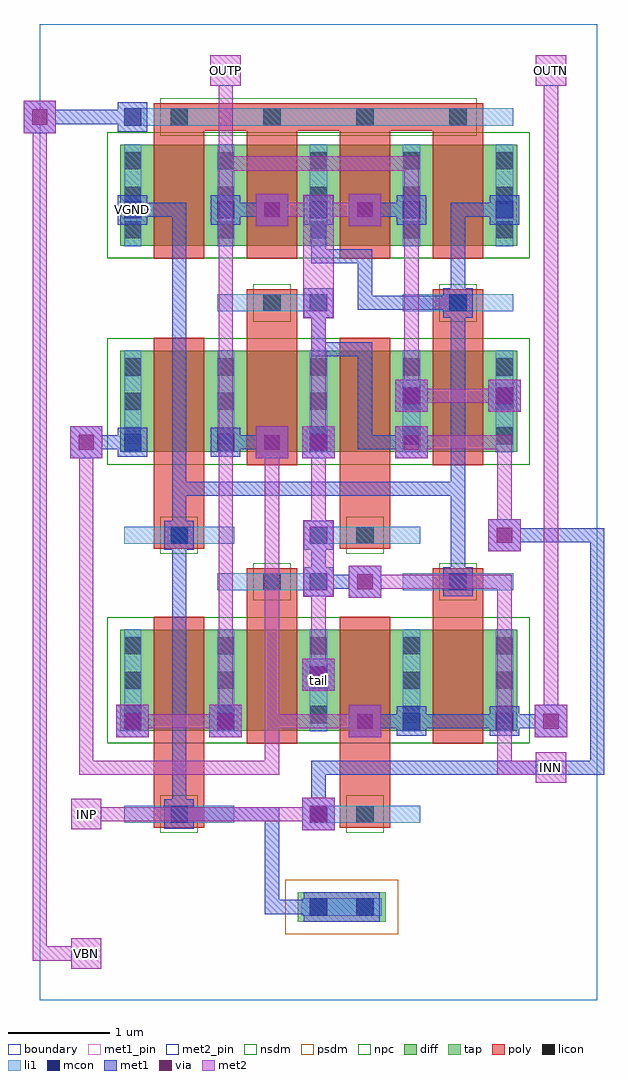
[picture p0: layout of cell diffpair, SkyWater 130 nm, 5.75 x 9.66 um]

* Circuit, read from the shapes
.subckt diffpair INN INP OUTN OUTP VBN VGND tail
XM1 OUTP VGND OUTP VGND sky130_fd_pr__nfet_01v8 w=1 l=0.5 m=2
XM2 OUTN VGND OUTN VGND sky130_fd_pr__nfet_01v8 w=1 l=0.5 m=2
XM3 tail VBN VGND VGND sky130_fd_pr__nfet_01v8 w=1 l=0.5 m=4
XM4 tail INN OUTP VGND sky130_fd_pr__nfet_01v8 w=1 l=0.5 m=2
XM5 tail INP OUTN VGND sky130_fd_pr__nfet_01v8 w=1 l=0.5 m=2
.ends

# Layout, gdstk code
import gdstk
lib = gdstk.Library(unit=1e-6, precision=1e-09)
def R(c, l, rs):  # rectangles x0, y0, x1, y1
    for r in rs: c.add(gdstk.rectangle(r[:2], r[2:], *l))
def A(c, l, x, y, w, h, nx, ny, dx, dy):  # array of equal rectangles
    R(c, l, [(x+i*dx, y+j*dy, x+i*dx+w, y+j*dy+h) for i in range(nx) for j in range(ny)])
diff = (65, 20)
tap = (65, 44)
poly = (66, 20)
licon = (66, 44)
li1 = (67, 20)
mcon = (67, 44)
met1_pin = (68, 16)
met1 = (68, 20)
via = (68, 44)
met2_pin = (69, 16)
met2 = (69, 20)
nsdm = (93, 44)
psdm = (94, 20)
npc = (95, 20)
boundary = (235, 4)

diffpair = lib.new_cell('diffpair')
R(diffpair, diff, [(0.795,2.665,4.725,3.665), (0.795,5.425,4.725,6.425), (0.795,7.465,4.725,8.465)])
R(diffpair, tap, [(2.555,0.775,3.425,1.065)])
A(diffpair, poly, 1.13, 7.335, 0.5, 1.405, 4, 1, 0.92, 0)
R(diffpair, poly, [(1.13,1.705,1.63,1.975), (2.97,1.705,3.47,1.975), (1.13,1.84,1.63,3.795), (2.97,1.84,3.47,3.795), (2.05,2.535,2.55,4.14), (3.89,2.535,4.39,4.14), (2.05,4.005,2.55,4.275), (3.89,4.005,4.39,4.275), (1.13,4.465,1.63,4.735), (2.97,4.465,3.47,4.735), (1.13,4.6,1.63,6.555), (2.97,4.6,3.47,6.555), (2.05,5.295,2.55,6.9), (3.89,5.295,4.39,6.9), (2.05,6.765,2.55,7.035), (3.89,6.765,4.39,7.035), (1.13,8.605,4.39,8.875)])
A(diffpair, licon, 0.835, 2.74, 0.17, 0.17, 5, 3, 0.92, 0.34)
A(diffpair, licon, 0.835, 5.5, 0.17, 0.17, 5, 3, 0.92, 0.34)
A(diffpair, licon, 0.835, 7.54, 0.17, 0.17, 5, 3, 0.92, 0.34)
A(diffpair, licon, 1.295, 8.655, 0.17, 0.17, 4, 1, 0.92, 0)
R(diffpair, licon, [(2.675,0.835,2.845,1.005), (3.135,0.835,3.305,1.005), (1.295,1.755,1.465,1.925), (3.135,1.755,3.305,1.925), (2.215,4.055,2.385,4.225), (4.055,4.055,4.225,4.225), (1.295,4.515,1.465,4.685), (3.135,4.515,3.305,4.685), (2.215,6.815,2.385,6.985), (4.055,6.815,4.225,6.985)])
A(diffpair, li1, 0.835, 2.66, 0.17, 1.01, 5, 2, 0.92, 2.76)
A(diffpair, li1, 0.835, 7.46, 0.17, 1.01, 5, 1, 0.92, 0)
R(diffpair, li1, [(2.595,0.835,3.385,1.005), (0.835,1.755,1.925,1.925), (2.675,1.755,3.765,1.925), (1.755,4.055,2.845,4.225), (3.595,4.055,4.685,4.225), (0.835,4.515,1.925,4.685), (2.675,4.515,3.765,4.685), (1.755,6.815,2.845,6.985), (3.595,6.815,4.685,6.985), (0.835,8.655,4.685,8.825)])
A(diffpair, mcon, 0.835, 5.435, 0.17, 0.17, 3, 1, 0.92, 0)
A(diffpair, mcon, 0.835, 7.735, 0.17, 0.17, 5, 1, 0.92, 0)
R(diffpair, mcon, [(2.675,0.835,2.845,1.005), (3.135,0.835,3.305,1.005), (1.295,1.755,1.465,1.925), (2.675,1.755,2.845,1.925), (0.835,2.675,1.005,2.845), (1.755,2.675,1.925,2.845), (3.595,2.675,3.765,2.845), (4.515,2.675,4.685,2.845), (2.675,3.135,2.845,3.305), (2.675,4.055,2.845,4.225), (4.055,4.055,4.225,4.225), (1.295,4.515,1.465,4.685), (2.675,4.515,2.845,4.685), (3.595,5.895,3.765,6.065), (4.515,5.895,4.685,6.065), (2.675,6.815,2.845,6.985), (4.055,6.815,4.225,6.985), (0.835,8.655,1.005,8.825)])
R(diffpair, met1_pin, [(0.775,7.675,1.065,7.965)])
A(diffpair, met1, 2.69, 1.77, 0.14, 0.6, 1, 3, 0, 2.3)
A(diffpair, met1, 0.775, 5.375, 0.29, 0.29, 3, 1, 0.92, 0)
A(diffpair, met1, 0.39, 5.45, 0.6, 0.14, 3, 1, 1.38, 0)
A(diffpair, met1, 0.775, 7.675, 0.29, 0.29, 5, 1, 0.92, 0)
R(diffpair, met1, [(2.615,0.775,3.365,1.065), (2.23,0.85,2.83,0.99), (2.23,0.85,2.37,1.91), (2.69,0.85,2.83,0.99), (2.6,1.68,2.92,2), (1.235,1.695,1.525,1.985), (2.615,1.695,2.905,1.985), (1.31,1.77,1.45,4.67), (1.31,1.77,2.37,1.91), (2.69,2.23,5.59,2.37), (5.45,2.23,5.59,4.67), (0.76,2.6,1.08,2.92), (1.68,2.6,2,2.92), (3.06,2.6,3.38,2.92), (4.9,2.6,5.22,2.92), (0.775,2.615,1.065,2.905), (1.695,2.615,1.985,2.905), (3.535,2.615,3.825,2.905), (4.455,2.615,4.745,2.905), (3.15,2.69,3.75,2.83), (3.61,2.69,4.67,2.83), (4.53,2.69,5.13,2.83), (2.6,3.06,2.92,3.38), (2.615,3.075,2.905,3.365), (3.06,3.98,3.38,4.3), (2.615,3.995,2.905,4.285), (3.995,3.995,4.285,4.285), (2.69,4.07,3.29,4.21), (4.07,4.07,4.21,5.13), (4.44,4.44,4.76,4.76), (1.235,4.455,1.525,4.745), (2.615,4.455,2.905,4.745), (1.31,4.53,1.45,7.89), (4.53,4.53,5.59,4.67), (1.31,4.99,4.21,5.13), (4.07,4.99,4.21,6.97), (0.3,5.36,0.62,5.68), (2.14,5.36,2.46,5.68), (2.6,5.36,2.92,5.68), (3.52,5.36,3.84,5.68), (3.15,5.45,3.29,6.51), (3.52,5.82,3.84,6.14), (4.44,5.82,4.76,6.14), (3.535,5.835,3.825,6.125), (4.455,5.835,4.745,6.125), (2.69,6.37,3.29,6.51), (2.615,6.755,2.905,7.045), (3.995,6.755,4.285,7.045), (3.15,6.83,4.21,6.97), (3.15,6.83,3.29,7.43), (4.07,6.83,4.21,7.89), (2.69,7.29,3.29,7.43), (2.69,7.29,2.83,7.89), (2.14,7.66,2.46,7.98), (3.06,7.66,3.38,7.98), (0.85,7.75,1.45,7.89), (1.77,7.75,2.37,7.89), (3.15,7.75,3.75,7.89), (4.07,7.75,4.67,7.89), (-0.16,8.58,0.16,8.9), (0.775,8.595,1.065,8.885), (-0.07,8.67,0.99,8.81)])
R(diffpair, via, [(2.685,1.765,2.835,1.915), (0.845,2.685,0.995,2.835), (1.765,2.685,1.915,2.835), (3.145,2.685,3.295,2.835), (4.985,2.685,5.135,2.835), (2.685,3.145,2.835,3.295), (3.145,4.065,3.295,4.215), (4.525,4.525,4.675,4.675), (0.385,5.445,0.535,5.595), (2.225,5.445,2.375,5.595), (2.685,5.445,2.835,5.595), (3.605,5.445,3.755,5.595), (3.605,5.905,3.755,6.055), (4.525,5.905,4.675,6.055), (2.225,7.745,2.375,7.895), (3.145,7.745,3.295,7.895), (-0.075,8.665,0.075,8.815)])
R(diffpair, met2_pin, [(0.31,0.31,0.61,0.61), (0.31,1.69,0.61,1.99), (4.91,2.15,5.21,2.45), (1.69,9.05,1.99,9.35), (4.91,9.05,5.21,9.35)])
R(diffpair, met2, [(0.31,0.31,0.61,0.61), (-0.07,0.39,0.53,0.53), (-0.07,0.39,0.07,8.81), (0.39,0.39,0.53,0.53), (2.6,1.68,2.92,2), (0.31,1.69,0.61,1.99), (0.39,1.77,0.53,1.91), (0.39,1.77,2.83,1.91), (4.91,2.15,5.21,2.45), (0.39,2.23,2.37,2.37), (0.39,2.23,0.53,5.59), (2.23,2.23,2.37,2.83), (4.53,2.23,5.13,2.37), (4.53,2.23,4.67,4.21), (4.99,2.23,5.13,2.37), (0.76,2.6,1.08,2.92), (1.68,2.6,2,2.92), (3.06,2.6,3.38,2.92), (4.9,2.6,5.22,2.92), (0.85,2.69,1.91,2.83), (1.77,2.69,1.91,9.27), (2.23,2.69,3.29,2.83), (2.23,2.69,2.37,5.59), (4.99,2.69,5.13,9.27), (2.6,3.06,2.92,3.38), (2.69,3.15,2.83,4.21), (3.06,3.98,3.38,4.3), (2.61,3.99,2.91,4.75), (3.15,4.07,4.67,4.21), (4.44,4.44,4.76,4.76), (2.69,4.53,2.83,5.59), (4.53,4.53,4.67,5.59), (0.3,5.36,0.62,5.68), (2.14,5.36,2.46,5.68), (2.6,5.36,2.92,5.68), (3.52,5.36,3.84,5.68), (2.69,5.45,2.83,6.97), (3.61,5.45,4.67,5.59), (3.52,5.82,3.84,6.14), (4.44,5.82,4.76,6.14), (3.61,5.91,4.67,6.05), (3.61,5.91,3.75,8.35), (2.61,6.75,2.91,7.97), (2.14,7.66,2.46,7.98), (3.06,7.66,3.38,7.98), (2.23,7.75,2.83,7.89), (2.69,7.75,3.29,7.89), (1.77,8.21,3.75,8.35), (-0.16,8.58,0.16,8.9), (1.69,9.05,1.99,9.35), (4.91,9.05,5.21,9.35), (1.77,9.13,1.91,9.27), (4.99,9.13,5.13,9.27)])
R(diffpair, nsdm, [(0.67,2.54,4.85,3.79), (0.67,5.3,4.85,6.55), (0.67,7.34,4.85,8.59)])
R(diffpair, psdm, [(2.43,0.65,3.55,1.19)])
R(diffpair, npc, [(1.195,1.655,1.565,2.025), (3.035,1.655,3.405,2.025), (2.115,3.955,2.485,4.325), (3.955,3.955,4.325,4.325), (1.195,4.415,1.565,4.785), (3.035,4.415,3.405,4.785), (2.115,6.715,2.485,7.085), (3.955,6.715,4.325,7.085), (1.195,8.555,4.325,8.925)])
R(diffpair, boundary, [(0,0,5.52,9.66)])
diffpair.add(gdstk.Label('tail', (2.76,3.165), layer=67, texttype=5))
diffpair.add(gdstk.Label('VGND', (0.92,7.82), layer=68, texttype=5))
diffpair.add(gdstk.Label('INP', (0.46,1.84), layer=69, texttype=5))
diffpair.add(gdstk.Label('INN', (5.06,2.3), layer=69, texttype=5))
diffpair.add(gdstk.Label('VBN', (0.46,0.46), layer=69, texttype=5))
diffpair.add(gdstk.Label('OUTP', (1.84,9.2), layer=69, texttype=5))
diffpair.add(gdstk.Label('OUTN', (5.06,9.2), layer=69, texttype=5))
diffpair.add(gdstk.Label('VGND', (0.92,7.82), layer=68, texttype=16))
diffpair.add(gdstk.Label('INP', (0.46,1.84), layer=69, texttype=16))
diffpair.add(gdstk.Label('INN', (5.06,2.3), layer=69, texttype=16))
diffpair.add(gdstk.Label('VBN', (0.46,0.46), layer=69, texttype=16))
diffpair.add(gdstk.Label('OUTP', (1.84,9.2), layer=69, texttype=16))
diffpair.add(gdstk.Label('OUTN', (5.06,9.2), layer=69, texttype=16))

lib.write_gds('diffpair.gds')
